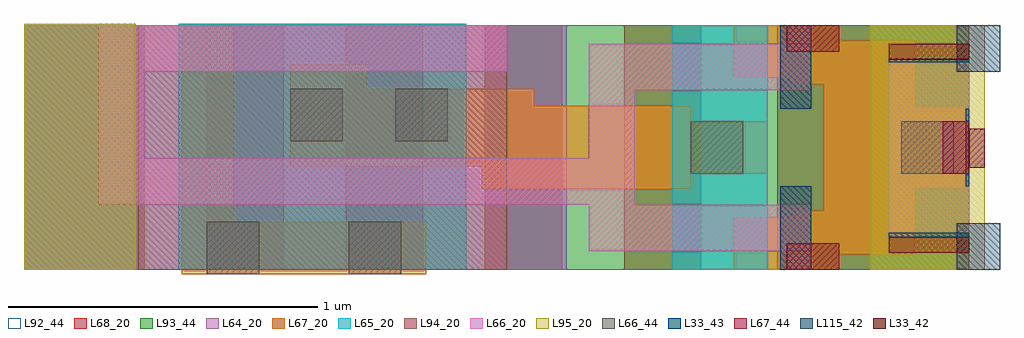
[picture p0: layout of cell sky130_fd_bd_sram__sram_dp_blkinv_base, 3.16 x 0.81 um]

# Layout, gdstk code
import gdstk
lib = gdstk.Library(unit=1e-6, precision=1e-09)
def R(c, l, rs):  # rectangles x0, y0, x1, y1
    for r in rs: c.add(gdstk.rectangle(r[:2], r[2:], *l))
def A(c, l, x, y, w, h, nx, ny, dx, dy):  # array of equal rectangles
    R(c, l, [(x+i*dx, y+j*dy, x+i*dx+w, y+j*dy+h) for i in range(nx) for j in range(ny)])
def P(c, l, *ps):  # polygons
    for p in ps: c.add(gdstk.Polygon(p, *l))
L33_42 = (33, 42)
L33_43 = (33, 43)
L64_20 = (64, 20)
L65_20 = (65, 20)
L66_20 = (66, 20)
L66_44 = (66, 44)
L67_20 = (67, 20)
L67_44 = (67, 44)
L68_20 = (68, 20)
L92_44 = (92, 44)
L93_44 = (93, 44)
L94_20 = (94, 20)
L95_20 = (95, 20)
L115_42 = (115, 42)

sky130_fd_bd_sram__sram_ = lib.new_cell('sky130_fd_bd_sram__sram_dp_swldrv_li_drop')
R(sky130_fd_bd_sram__sram_, L115_42, [(-0.04,0,0.1,0.15)])

c_sky130_fd_bd_sram__sram_ = lib.new_cell('sky130_fd_bd_sram__sram_dp_licon_05')
R(c_sky130_fd_bd_sram__sram_, L66_44, [(-0.085,0,0.085,0.085)])

c_sky130_fd_bd_sram__sram__ = lib.new_cell('sky130_fd_bd_sram__sram_dp_licon_1')
c_sky130_fd_bd_sram__sram__.add(gdstk.Reference(c_sky130_fd_bd_sram__sram_, (0,0)))
c_sky130_fd_bd_sram__sram__.add(gdstk.Reference(c_sky130_fd_bd_sram__sram_, (0,0), x_reflection=True))

c_sky130_fd_bd_sram__sram___ = lib.new_cell('sky130_fd_bd_sram__sram_dp_swldrv_opt1_poly_siz_opta')
R(c_sky130_fd_bd_sram__sram___, L33_42, [(0,0.01,0.26,0.06)])
R(c_sky130_fd_bd_sram__sram___, L33_43, [(0,0,0.26,0.01)])

c_sky130_fd_bd_sram__sram____ = lib.new_cell('sky130_fd_bd_sram__sram_dp_swldrv_opt1_poly_siz_optb')
R(c_sky130_fd_bd_sram__sram____, L33_42, [(0,-0.065,0.26,-0.015)])
R(c_sky130_fd_bd_sram__sram____, L33_43, [(0,-0.015,0.26,0)])

c_sky130_fd_bd_sram__sram_____ = lib.new_cell('sky130_fd_bd_sram__sram_dp_blkinv_p1m_siz')
R(c_sky130_fd_bd_sram__sram_____, L33_42, [(2.605,0.24,2.655,0.365)])
R(c_sky130_fd_bd_sram__sram_____, L33_43, [(2.595,0.18,2.605,0.415), (2.595,0.415,2.605,0.42), (2.595,0.42,2.605,0.43)])
c_sky130_fd_bd_sram__sram_____.add(gdstk.Reference(c_sky130_fd_bd_sram__sram___, (2.345,0.58)))
c_sky130_fd_bd_sram__sram_____.add(gdstk.Reference(c_sky130_fd_bd_sram__sram____, (2.345,0.03)))

c_sky130_fd_bd_sram__sram______ = lib.new_cell('sky130_fd_bd_sram__sram_dp_blkinv_base')
R(c_sky130_fd_bd_sram__sram______, L33_43, [(2.445,0,2.545,0.27), (2.445,0.52,2.545,0.79)])
R(c_sky130_fd_bd_sram__sram______, L64_20, [(0,0,1.755,0.79)])
R(c_sky130_fd_bd_sram__sram______, L65_20, [(0.5,0,1.43,0.795), (2.095,0,2.405,0.79)])
P(c_sky130_fd_bd_sram__sram______, L66_20, [(2.795,0.12),(2.795,0.67),(3.055,0.67),(3.055,0.52),(3.045,0.52),(3.045,0.27),(3.055,0.27),(3.055,0.12)],
  [(1.825,0.06),(1.825,0.21),(0.24,0.21),(0.24,0.79),(1.56,0.79),(1.56,0.64),(0.39,0.64),(0.39,0.36),(1.825,0.36),(1.825,0.73),(2.545,0.73),(2.545,0.58),(1.975,0.58),(1.975,0.21),(2.545,0.21),(2.545,0.06)])
P(c_sky130_fd_bd_sram__sram______, L67_20, [(0.51,-0.015),(0.51,0.79),(0.68,0.79),(0.68,0.155),(1.3,0.155),(1.3,-0.015)],
  [(1.48,0.26),(1.48,0.335),(0.86,0.335),(0.86,0.665),(1.11,0.665),(1.11,0.585),(1.65,0.585),(1.65,0.53),(2.155,0.53),(2.155,0.48),(2.405,0.48),(2.405,0.31),(2.155,0.31),(2.155,0.26)],
  [(2.295,0),(2.295,0.17),(2.495,0.17),(2.495,0.19),(2.585,0.19),(2.585,0.6),(2.495,0.6),(2.495,0.62),(2.295,0.62),(2.295,0.79),(2.635,0.79),(2.635,0.74),(2.88,0.74),(2.88,0.525),(3.055,0.525),(3.055,0.265),(2.88,0.265),(2.88,0.05),(2.635,0.05),(2.635,0)])
R(c_sky130_fd_bd_sram__sram______, L67_44, [(2.465,0,2.635,0.085), (2.97,0.31,3.055,0.48), (2.465,0.705,2.635,0.79)])
A(c_sky130_fd_bd_sram__sram______, L68_20, 0.59, 0, 0.25, 0.79, 4, 1, 0.45, 0)
R(c_sky130_fd_bd_sram__sram______, L68_20, [(0,0,0.39,0.79), (2.435,0,3.055,0.79)])
R(c_sky130_fd_bd_sram__sram______, L92_44, [(0,0,3.055,0.79)])
R(c_sky130_fd_bd_sram__sram______, L93_44, [(0,0,0.37,0.79), (1.56,0,3.055,0.79)])
R(c_sky130_fd_bd_sram__sram______, L94_20, [(0.37,0,1.56,0.79)])
R(c_sky130_fd_bd_sram__sram______, L95_20, [(0,0,0.36,0.795), (2.735,0,3.105,0.79)])
c_sky130_fd_bd_sram__sram______.add(gdstk.Reference(sky130_fd_bd_sram__sram_, (3.055,0.79), x_reflection=True))
c_sky130_fd_bd_sram__sram______.add(gdstk.Reference(sky130_fd_bd_sram__sram_, (3.055,0)))
c_sky130_fd_bd_sram__sram______.add(gdstk.Reference(c_sky130_fd_bd_sram__sram__, (2.92,0.395)))
c_sky130_fd_bd_sram__sram______.add(gdstk.Reference(c_sky130_fd_bd_sram__sram__, (2.24,0.395)))
c_sky130_fd_bd_sram__sram______.add(gdstk.Reference(c_sky130_fd_bd_sram__sram__, (1.135,0.07)))
c_sky130_fd_bd_sram__sram______.add(gdstk.Reference(c_sky130_fd_bd_sram__sram__, (0.675,0.07)))
c_sky130_fd_bd_sram__sram______.add(gdstk.Reference(c_sky130_fd_bd_sram__sram__, (0.945,0.5)))
c_sky130_fd_bd_sram__sram______.add(gdstk.Reference(c_sky130_fd_bd_sram__sram__, (1.285,0.5)))
c_sky130_fd_bd_sram__sram______.add(gdstk.Reference(c_sky130_fd_bd_sram__sram_____, (0.45,0.09)))

lib.write_gds('sky130_fd_bd_sram__sram_dp_blkinv_base.gds')
